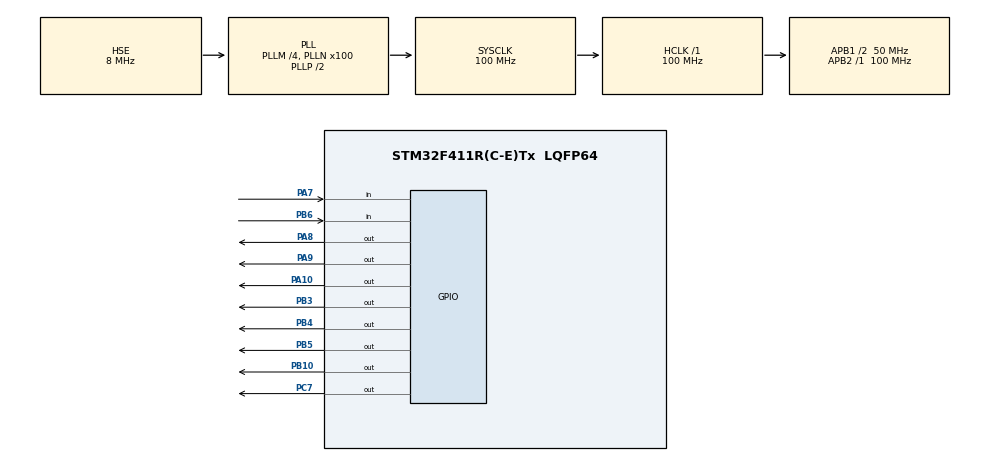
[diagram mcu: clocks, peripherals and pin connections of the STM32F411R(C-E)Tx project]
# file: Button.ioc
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Mcu.Family=STM32F4
Mcu.Name=STM32F411R(C-E)Tx
Mcu.Package=LQFP64
NVIC.PriorityGroup=NVIC_PRIORITYGROUP_4
PA10.Signal=GPIO_Output
PA13.Mode=Serial_Wire
PA13.Signal=SYS_JTMS-SWDIO
PA14.Mode=Serial_Wire
PA14.Signal=SYS_JTCK-SWCLK
PA7.Signal=GPIO_Input
PA8.Signal=GPIO_Output
PA9.Signal=GPIO_Output
PB10.Signal=GPIO_Output
PB3.Signal=GPIO_Output
PB4.Signal=GPIO_Output
PB5.Signal=GPIO_Output
PB6.Signal=GPIO_Input
PC7.Signal=GPIO_Output
PH0\ -\ OSC_IN.Mode=HSE-External-Oscillator
PH0\ -\ OSC_IN.Signal=RCC_OSC_IN
PH1\ -\ OSC_OUT.Mode=HSE-External-Oscillator
PH1\ -\ OSC_OUT.Signal=RCC_OSC_OUT
ProjectManager.HeapSize=0x200
ProjectManager.StackSize=0x400
ProjectManager.TargetToolchain=STM32CubeIDE
RCC.48MHZClocksFreq_Value=50000000
RCC.AHBFreq_Value=100000000
RCC.APB1CLKDivider=RCC_HCLK_DIV2
RCC.APB1Freq_Value=50000000
RCC.APB1TimFreq_Value=100000000
RCC.APB2Freq_Value=100000000
RCC.APB2TimFreq_Value=100000000
RCC.CortexFreq_Value=100000000
RCC.HCLKFreq_Value=100000000
RCC.HSE_VALUE=8000000
RCC.HSI_VALUE=16000000
RCC.LSE_VALUE=32768
RCC.PLLM=4
RCC.PLLN=100
RCC.PLLSourceVirtual=RCC_PLLSOURCE_HSE
RCC.SYSCLKFreq_VALUE=100000000
RCC.SYSCLKSource=RCC_SYSCLKSOURCE_PLLCLK
RCC.VCOOutputFreq_Value=200000000
board=custom

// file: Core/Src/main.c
/* USER CODE BEGIN Header */
/**
  ******************************************************************************
  * @file           : main.c
  * @brief          : Main program body
  ******************************************************************************
  * @attention
  *
  * Copyright (c) 2023 STMicroelectronics.
  * All rights reserved.
  *
  * This software is licensed under terms that can be found in the LICENSE file
  * in the root directory of this software component.
  * If no LICENSE file comes with this software, it is provided AS-IS.
  *
  ******************************************************************************
  */
/* USER CODE END Header */
#include "main.h"
#include "gpio.h"

/* USER CODE BEGIN Includes */
#include "button.h"
/* USER CODE END Includes */

/* USER CODE BEGIN PV */
	GPIO_TypeDef *led_tbl[8] =
		{
			GPIOA, GPIOB, GPIOB, GPIOB, GPIOB, GPIOA, GPIOA, GPIOC
		};

	uint16_t led_tbl_pin[8] =
		{
			GPIO_PIN_10, GPIO_PIN_3, GPIO_PIN_5, GPIO_PIN_4,
			GPIO_PIN_10, GPIO_PIN_8, GPIO_PIN_9, GPIO_PIN_7,
		};

	uint8_t flag = 0;
/* USER CODE END PV */

void SystemClock_Config(void);

int main(void)
{
  /* USER CODE BEGIN 1 */

	Button shift; // define static variable
  /* USER CODE END 1 */

  /* MCU Configuration--------------------------------------------------------*/

  /* Reset of all peripherals, Initializes the Flash interface and the Systick. */
  HAL_Init();

  /* USER CODE BEGIN Init */

  Button_Init(&shift, GPIOB, GPIO_PIN_6);
  /* USER CODE END Init */

  /* Configure the system clock */
  SystemClock_Config();

  /* Initialize all configured peripherals */
  MX_GPIO_Init();

  /* Infinite loop */
  while (1)
  {

    /* USER CODE BEGIN 3 */

	  if(Button_getState(&shift) == ACT_PUSHED)
	  {
		  flag = (flag + 1) % 2; // 0 -> 1 | 1 -> 0
		  HAL_Delay(100);
	  }

	  switch(flag)
	  {
		  case 0:
			  for(int i = 0; i < 8; i++)
			  {
  				  HAL_GPIO_WritePin(led_tbl[i], led_tbl_pin[i], RESET);
  				  HAL_Delay(200);
			  }

			  for(int i = 0; i < 8; i++)
			  {
				  HAL_GPIO_WritePin(led_tbl[i], led_tbl_pin[i], SET);
				  HAL_Delay(200);

//				  HAL_GPIO_WritePin(led_tbl[i], led_tbl_pin[i], RESET);
//				  HAL_Delay(200);

				  if(Button_getState(&shift) == ACT_PUSHED)
				  {
					  flag = (flag + 1) % 2; // 0 -> 1 | 1 -> 0
					  HAL_Delay(100);

					  break;
				  }
			  }
			  break;
		  case 1:
			  for(int i = 7; i >= 0; i--)
			  {
				  HAL_GPIO_WritePin(led_tbl[i], led_tbl_pin[i], RESET);
				  HAL_Delay(200);
			  }

			  for(int i = 7; i >= 0; i--)
			  {
				  HAL_GPIO_WritePin(led_tbl[i], led_tbl_pin[i], SET);
				  HAL_Delay(200);

//				  HAL_GPIO_WritePin(led_tbl[i], led_tbl_pin[i], RESET);
//				  HAL_Delay(200);

				  if(Button_getState(&shift) == ACT_PUSHED)
				  {
					  flag = (flag + 1) % 2; // 0 -> 1 | 1 -> 0
					  HAL_Delay(100);

					  break;
				  }

			  }
			  break;
	  }
  }

  /* USER CODE END 3 */
}

void SystemClock_Config(void)
{
  RCC_OscInitTypeDef RCC_OscInitStruct = {0};
  RCC_ClkInitTypeDef RCC_ClkInitStruct = {0};

  /** Configure the main internal regulator output voltage
  */
  __HAL_RCC_PWR_CLK_ENABLE();
  __HAL_PWR_VOLTAGESCALING_CONFIG(PWR_REGULATOR_VOLTAGE_SCALE1);

  /** Initializes the RCC Oscillators according to the specified parameters
  * in the RCC_OscInitTypeDef structure.
  */
  RCC_OscInitStruct.OscillatorType = RCC_OSCILLATORTYPE_HSE;
  RCC_OscInitStruct.HSEState = RCC_HSE_ON;
  RCC_OscInitStruct.PLL.PLLState = RCC_PLL_ON;
  RCC_OscInitStruct.PLL.PLLSource = RCC_PLLSOURCE_HSE;
  RCC_OscInitStruct.PLL.PLLM = 4;
  RCC_OscInitStruct.PLL.PLLN = 100;
  RCC_OscInitStruct.PLL.PLLP = RCC_PLLP_DIV2;
  RCC_OscInitStruct.PLL.PLLQ = 4;
  if (HAL_RCC_OscConfig(&RCC_OscInitStruct) != HAL_OK)
  {
    Error_Handler();
  }

  /** Initializes the CPU, AHB and APB buses clocks
  */
  RCC_ClkInitStruct.ClockType = RCC_CLOCKTYPE_HCLK|RCC_CLOCKTYPE_SYSCLK
                              |RCC_CLOCKTYPE_PCLK1|RCC_CLOCKTYPE_PCLK2;
  RCC_ClkInitStruct.SYSCLKSource = RCC_SYSCLKSOURCE_PLLCLK;
  RCC_ClkInitStruct.AHBCLKDivider = RCC_SYSCLK_DIV1;
  RCC_ClkInitStruct.APB1CLKDivider = RCC_HCLK_DIV2;
  RCC_ClkInitStruct.APB2CLKDivider = RCC_HCLK_DIV1;

  if (HAL_RCC_ClockConfig(&RCC_ClkInitStruct, FLASH_LATENCY_3) != HAL_OK)
  {
    Error_Handler();
  }
}

void Error_Handler(void)
{
  __disable_irq();
  while (1)
  {
  }
}
